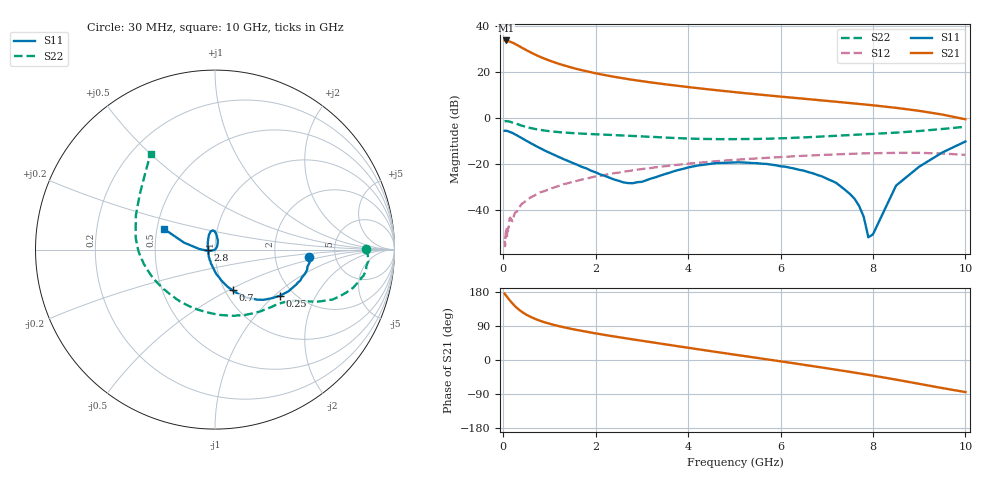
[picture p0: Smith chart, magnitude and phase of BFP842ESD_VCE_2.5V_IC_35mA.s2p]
! Infineon Technologies  Discrete & RF Semiconductors
! BFP842ESD
! VCE =  2.5 V,  IC =  35 mA
! Common Emitter S-Parameters:  May 2012
# GHz  S  MA  R  50
!  f  S11  S21  S12  S22
! GHz  MAG  ANG  MAG  ANG  MAG  ANG  MAG  ANG
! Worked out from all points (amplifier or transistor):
!   99 points, 30 MHz to 10 GHz, reference 50 ohm
!   highest |S21| = 33.8 dB at 60 MHz (marker M1)
!   |S21| within 3 dB of that: start of sweep to 390.7 MHz
!   unconditionally stable (mu >= 1): 30.25 MHz to 45.7 MHz; 59.24 MHz to 60.32 MHz; 1.374 GHz to end of sweep (the widest 3 of 4)
!   at 350 MHz: K = 0.70, MSG = 35.1 dB, |S12| = -38.9 dB
!   at 3.5 GHz: K = 1.11, MAG = 15.9 dB, |S12| = -21.0 dB
!   at 10 GHz: K = 1.85, MAG = 2.5 dB, |S12| = -16.1 dB
!   S11 on the Smith chart (normalised r, x): 30 MHz: 3.18, -0.36; 250 MHz: 1.70, -1.09; 700 MHz: 1.09, -0.52; 2.8 GHz: 0.93, -0.00; 10 GHz: 0.54, +0.14
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0.03  0.5272 -4.5  48.87 175.3  0.0021 103.8  0.84 0.3
0.05  0.5324 -7.7  48.51 171.7  0.0028 105.6  0.852 -2.1
0.06  0.5247 -10.1  49.18 170.1  0.0034 35.0  0.8537 -3.8
0.11  0.5095 -17.5  47.78 162.1  0.0041 42.8  0.8478 -8.1
0.15  0.4929 -23.2  46.24 156.2  0.0067 78.8  0.8274 -11.7
0.25  0.4437 -35.4  41.74 142.7  0.0085 73.5  0.7674 -18.3
0.35  0.3896 -45.9  36.74 131.9  0.0113 71.6  0.7106 -23.1
0.45  0.3408 -53.2  32.25 123.3  0.0144 68.3  0.6604 -25.8
0.6  0.2808 -62.1  26.8 113.3  0.0187 67.6  0.6022 -28.7
0.7  0.2471 -66.6  23.97 108.0  0.021 67.8  0.5727 -30.0
0.9  0.1947 -74.8  19.59 99.4  0.0256 66.5  0.5316 -32.4
1.1  0.1572 -81.4  16.51 92.5  0.0305 64.9  0.5035 -34.8
1.7  0.0859 -102.5  11.06 76.9  0.0455 59.7  0.456 -42.8
2.2  0.0546 -128.1  8.644 66.1  0.0573 54.4  0.4323 -51.1
2.8  0.0378 -179.0  6.815 54.5  0.0721 47.8  0.4057 -62.4
3.4  0.0555 136.2  5.62 43.4  0.0865 40.4  0.3787 -76.2
5.1  0.1081 97.4  3.59 12.5  0.124 16.7  0.3465 -121.2
6.7  0.0622 77.2  2.525 -16.3  0.1527 -7.1  0.3859 -159.3
7.6  0.0174 54.0  2.075 -33.3  0.1663 -22.4  0.4303 179.0
7.9  0.0025 50.3  1.938 -39.2  0.17 -27.9  0.4463 171.7
8.5  0.0336 -165.9  1.666 -51.8  0.1737 -39.9  0.48 156.7
10  0.3075 157.9  0.937 -84.6  0.1569 -74.7  0.644 123.9
